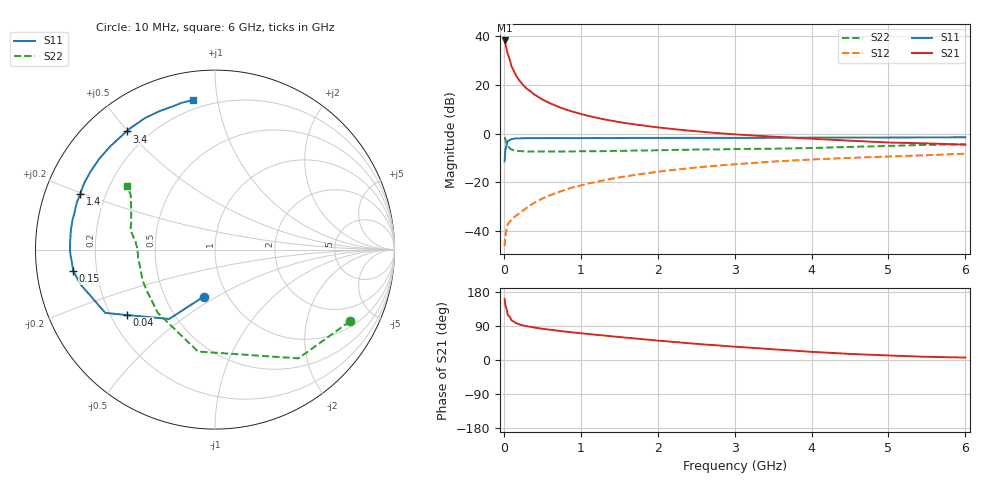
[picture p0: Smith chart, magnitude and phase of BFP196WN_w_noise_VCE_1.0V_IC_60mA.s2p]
! (c) 2017  Infineon Technologies AG, Munich
! Infineon Technologies  Discrete & RF Semiconductors
! BFP196WN
! VCE =  1.0 V,  IC =  60 mA
! Common Emitter S-Parameters:  Jan 2017
# GHz  S  MA  R  50
!  f  S11  S21  S12  S22
! GHz  MAG  ANG  MAG  ANG  MAG  ANG  MAG  ANG
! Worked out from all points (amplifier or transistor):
!   77 points, 10 MHz to 6 GHz, reference 50 ohm
!   highest |S21| = 38.3 dB at 10 MHz (marker M1)
!   |S21| within 3 dB of that: start of sweep to 32.1 MHz
!   unconditionally stable (mu >= 1): 472.1 MHz to 3.293 GHz; 4.781 GHz to 5.089 GHz
!   at 130 MHz: K = 0.66, MSG = 30.1 dB, |S12| = -34.5 dB
!   at 2.2 GHz: K = 1.03, MAG = 7.3 dB, |S12| = -14.9 dB
!   at 6 GHz: K = 0.97, MSG = 1.9 dB, |S12| = -8.2 dB
!   lowest NFmin = 1.38 dB at 450 MHz
!   S11 on the Smith chart (normalised r, x): 10 MHz: 0.77, -0.44; 40 MHz: 0.26, -0.31; 150 MHz: 0.11, -0.07; 1.4 GHz: 0.11, +0.20; 3.4 GHz: 0.12, +0.49; 6 GHz: 0.15, +0.86
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0.01  0.2703 -103.7  81.86 161.4  0.0049 74.8  0.8512 -28.0
0.02  0.4637 -123.5  70.02 145.0  0.0078 65.8  0.7637 -52.5
0.04  0.6125 -143.5  50.87 130.7  0.0117 49.5  0.5878 -81.0
0.05  0.7054 -150.0  43.25 119.2  0.0138 45.0  0.5759 -99.5
0.1  0.774 -165.5  24 104.4  0.0171 46.1  0.475 -132.2
0.15  0.7989 -171.4  16.43 98.0  0.0202 50.0  0.4453 -147.3
0.2  0.8008 -175.2  12.42 94.1  0.0231 55.3  0.4394 -155.2
0.25  0.8053 -177.7  9.979 91.2  0.0265 58.1  0.4338 -160.1
0.3  0.8082 -179.8  8.342 89.1  0.0303 60.4  0.4298 -164.1
0.4  0.8083 177.1  6.285 85.4  0.0384 64.8  0.4283 -168.6
0.5  0.8088 174.4  5.032 82.5  0.0464 66.4  0.4301 -172.0
0.6  0.8105 172.1  4.208 79.8  0.0544 67.9  0.4313 -174.4
0.7  0.8098 170.2  3.605 77.5  0.0621 69.0  0.4294 -176.2
0.9  0.8091 166.0  2.809 72.7  0.0791 68.6  0.4327 -178.9
1.1  0.8117 162.5  2.315 68.6  0.0949 68.5  0.4347 178.7
1.4  0.8115 157.5  1.846 62.6  0.1188 66.7  0.4416 176.0
2.1  0.8179 146.3  1.295 49.6  0.1723 61.3  0.4597 171.3
3.1  0.8187 131.2  0.947 33.8  0.2415 51.9  0.4851 165.3
3.4  0.8224 126.8  0.887 29.7  0.2607 49.2  0.4892 162.9
4.1  0.8296 116.7  0.772 20.5  0.2994 42.6  0.5122 155.8
5.1  0.8327 105.9  0.652 11.2  0.3433 34.8  0.5664 146.5
6  0.8424 98.2  0.595 6.4  0.3882 28.7  0.6041 144.4
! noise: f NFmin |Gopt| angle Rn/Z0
0.45  1.38  0.55  -177  0.05
0.9  1.49  0.57  -169  0.06
1.9  2.42  0.69  -147  0.18
2.4  3.19  0.7  -139  0.3
